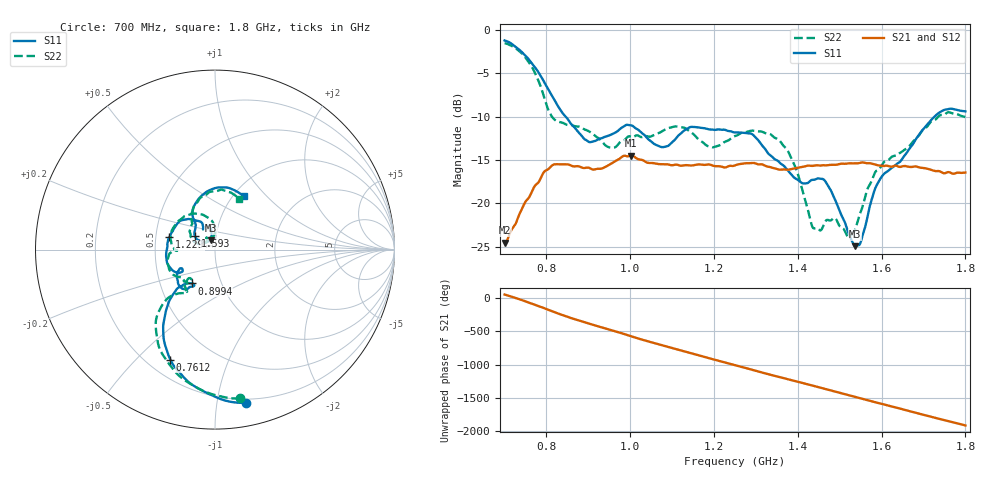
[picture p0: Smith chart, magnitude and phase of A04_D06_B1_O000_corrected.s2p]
! Created with skrf 1.9.0 (http://scikit-rf.org).
# Hz S RI R 50.0
!freq ReS11 ImS11 ReS21 ImS21 ReS12 ImS12 ReS22 ImS22
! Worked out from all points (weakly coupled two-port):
!   1601 points, 700 MHz to 1.8 GHz, reference 50 ohm
!   highest |S21| = -14.48 dB at 1.002 GHz (marker M1); lowest = -24.5 dB at 700.7 MHz (marker M2)
!   lowest |S11| = -24.9 dB at 1.537 GHz (marker M3), VSWR 1.12, Z = 47.4 + j4.85 ohm
!   |S11| at or under -10 dB: 846.1 MHz to 1.726 GHz (879.8 MHz wide, 68.4 % of centre)
!   |S22| runs from -23.9 to -1.5 dB; largest |S21 - S12| = 0.0035
!   S11 on the Smith chart (normalised r, x): 700 MHz: 0.17, -1.21; 761.2 MHz: 0.29, -0.63; 899.4 MHz: 0.72, -0.29; 1.229 GHz: 0.59, +0.09; 1.593 GHz: 0.79, +0.12; 1.8 GHz: 1.12, +0.76
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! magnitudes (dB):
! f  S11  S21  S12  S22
! 700 MHz  -1.2  -24.5  -24.3  -1.5
! 700.7 MHz  -1.2  -24.5  -24.2  -1.5
! 761.2 MHz  -3.6  -19.1  -19.0  -3.9
! 815.5 MHz  -7.8  -15.5  -15.6  -10.1
! 883.6 MHz  -12.2  -15.8  -15.7  -11.2
! 899.4 MHz  -12.8  -15.9  -15.9  -11.6
! 953 MHz  -12.1  -15.5  -15.5  -13.5
! 1.002 GHz  -11.0  -14.5  -14.6  -12.3
! 1.067 GHz  -13.4  -15.5  -15.4  -11.9
! 1.145 GHz  -11.2  -15.6  -15.6  -11.8
! 1.229 GHz  -11.6  -15.8  -15.7  -12.8
! 1.25 GHz  -11.8  -15.6  -15.5  -12.2
! 1.358 GHz  -15.3  -16.1  -16.1  -12.8
! 1.396 GHz  -17.2  -15.9  -15.9  -16.0
! 1.434 GHz  -17.3  -15.7  -15.6  -22.6
! 1.469 GHz  -17.7  -15.6  -15.6  -21.9
! 1.537 GHz  -24.9  -15.4  -15.4  -23.0
! 1.551 GHz  -24.3  -15.3  -15.3  -20.8
! 1.593 GHz  -17.5  -15.6  -15.6  -16.1
! 1.617 GHz  -16.2  -15.7  -15.7  -15.0
! 1.734 GHz  -9.6  -16.3  -16.3  -10.1
! 1.8 GHz  -9.4  -16.4  -16.4  -10.0
